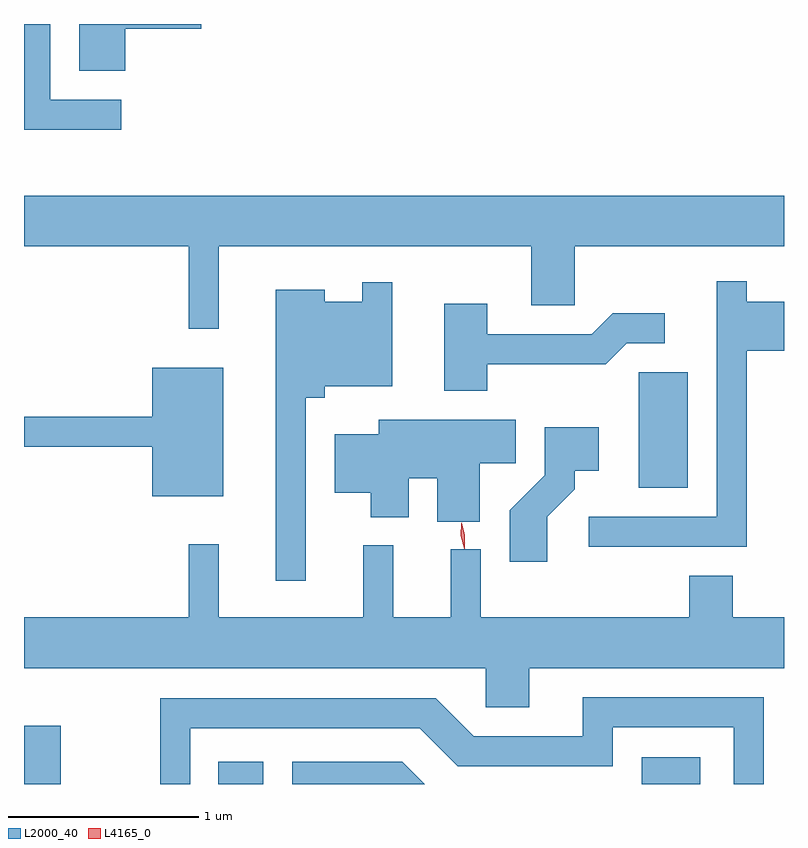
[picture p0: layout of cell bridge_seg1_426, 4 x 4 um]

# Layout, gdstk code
import gdstk
lib = gdstk.Library(unit=1e-6, precision=1e-09)
def R(c, l, rs):  # rectangles x0, y0, x1, y1
    for r in rs: c.add(gdstk.rectangle(r[:2], r[2:], *l))
def P(c, l, *ps):  # polygons
    for p in ps: c.add(gdstk.Polygon(p, *l))
L2000_40 = (2000, 40)
L4165_0 = (4165, 0)

bridge_seg1_426 = lib.new_cell('bridge_seg1_426')
R(bridge_seg1_426, L2000_40, [(330.03,841.247,330.224,841.554), (331.053,841.247,331.289,841.364), (333.281,841.247,333.589,841.389), (333.266,842.806,333.524,843.414)])
P(bridge_seg1_426, L2000_40, [(330.564,845.221),(330.964,845.221),(330.964,845.247),(330.321,845.247),(330.321,845.001),(330.564,845.001)],
  [(330.543,844.849),(330.169,844.849),(330.169,845.247),(330.03,845.247),(330.03,844.691),(330.543,844.691)],
  [(331.054,844.076),(332.701,844.076),(332.701,843.766),(332.929,843.766),(332.929,844.076),(334.03,844.076),(334.03,844.344),(330.03,844.344),(330.03,844.076),(330.896,844.076),(330.896,843.643),(331.054,843.643)],
  [(333.834,843.526),(334.03,843.526),(334.03,843.784),(333.834,843.784),(333.834,843.893),(333.676,843.893),(333.676,842.654),(333.003,842.654),(333.003,842.496),(333.834,842.496)],
  [(331.514,843.281),(331.614,843.281),(331.614,843.341),(331.969,843.341),(331.969,843.888),(331.811,843.888),(331.811,843.784),(331.614,843.784),(331.614,843.849),(331.356,843.849),(331.356,842.318),(331.514,842.318)],
  [(332.469,843.456),(333.092,843.456),(333.202,843.566),(333.403,843.566),(333.403,843.724),(333.129,843.724),(333.019,843.614),(332.469,843.614),(332.469,843.774),(332.241,843.774),(332.241,843.316),(332.469,843.316)],
  [(331.079,843.439),(330.706,843.439),(330.706,843.179),(330.03,843.179),(330.03,843.021),(330.706,843.021),(330.706,842.761),(331.079,842.761)],
  [(332.429,842.936),(332.619,842.936),(332.619,843.164),(331.896,843.164),(331.896,843.089),(331.666,843.089),(331.666,842.781),(331.856,842.781),(331.856,842.651),(332.054,842.651),(332.054,842.856),(332.206,842.856),(332.206,842.626),(332.429,842.626)],
  [(332.784,842.654),(332.929,842.799),(332.929,842.896),(333.054,842.896),(333.054,843.124),(332.771,843.124),(332.771,842.872),(332.586,842.687),(332.586,842.416),(332.784,842.416)],
  [(332.689,841.856),(334.03,841.856),(334.03,842.124),(333.759,842.124),(333.759,842.344),(333.531,842.344),(333.531,842.124),(332.434,842.124),(332.434,842.483),(332.276,842.483),(332.276,842.124),(331.974,842.124),(331.974,842.503),(331.816,842.503),(331.816,842.124),(331.054,842.124),(331.054,842.508),(330.896,842.508),(330.896,842.124),(330.03,842.124),(330.03,841.856),(332.461,841.856),(332.461,841.651),(332.689,841.651)],
  [(330.904,841.541),(332.114,841.541),(332.314,841.341),(333.129,841.341),(333.129,841.546),(333.766,841.546),(333.766,841.247),(333.924,841.247),(333.924,841.704),(332.971,841.704),(332.971,841.499),(332.397,841.499),(332.197,841.699),(330.746,841.699),(330.746,841.247),(330.904,841.247)],
  [(332.022,841.364),(331.441,841.364),(331.441,841.247),(332.139,841.247)])
P(bridge_seg1_426, L4165_0, [(332.347,842.488),(332.346,842.489),(332.329,842.553),(332.331,842.62),(332.332,842.62),(332.332,842.62),(332.35,842.556),(332.348,842.489)],
  [(332.348,842.485),(332.348,842.486),(332.331,842.553),(332.334,842.623),(332.335,842.623),(332.335,842.623),(332.351,842.555),(332.349,842.486)])

lib.write_gds('bridge_seg1_426.gds')
